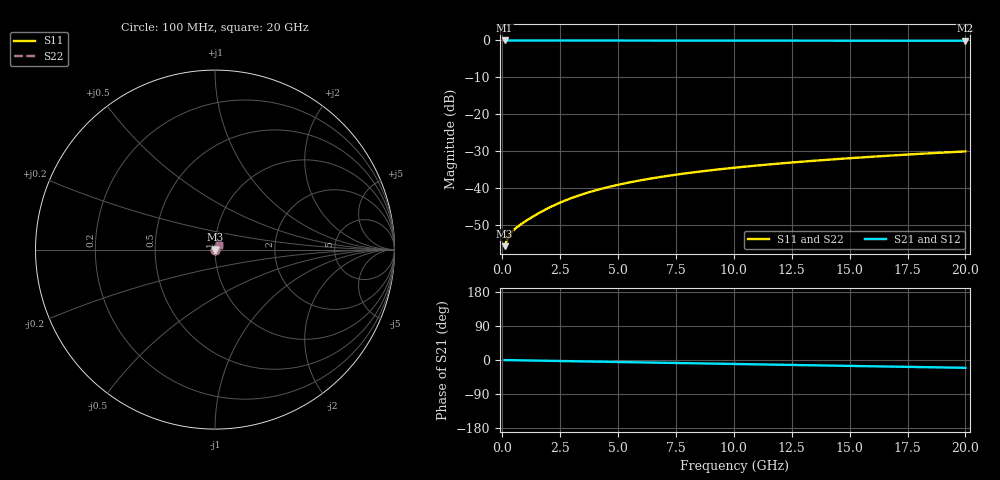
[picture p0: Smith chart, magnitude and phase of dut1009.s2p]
! Touchstone file exported from HFSS 2026.1.0
!  File:  C:/ffzhzh/LocalFiles/Ansys_Project_Files/temp_train_BSMRDL_1009_1783173248_51560.aedt
!  Generated:  09:55:17 PM Jul  4, 2026
!  Design:  BSMRDL
!  Project:  temp_train_BSMRDL_1009_1783173248_51560
! Variables:
!  h_bsmrdl = 3.95um
!  h_ox = 20um
!  h_rdl = 5um
!  h_sub = 80um
!  h_tmrdl = 5um
!  h_tsv = 80um
!  h_via = 3um
!  l_bsmrdl = 357.55um
!  l_sub = 757.55um
!  l_tmrdl = 200um
!  m_sub = 200um
!  pitch = 30.47um
!  r_tsv = 6um
!  s_tmrdl = 10um
!  w_bsmrdl = 24.93um
!  w_sub = 500um
!  w_tmrdl = 12um
!  x_tsv_center1 = 206um
!  x_tsv_center2 = 588.48um
!  x_tsv_center3 = 800.48um
!  x_tsv_center4 = 1182.96um
!  x_tsv_center5 = 1394.96um
!  x_tsv_center6 = 1777.44um
# GHz S MA R 50.000000
! Terminal data exported
! Port[1] = BSM_RDL1_1_T1
! Port[2] = BSM_RDL1_1_T2
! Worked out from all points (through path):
!   200 points, 100 MHz to 20 GHz, reference 50 ohm
!   highest |S21| = -0.01 dB at 100 MHz (marker M1); lowest = -0.1 dB at 20 GHz (marker M2)
!   group delay of S21, straight-line fit = 2.86 ps
!   lowest |S11| = -55.7 dB at 100 MHz (marker M3), VSWR 1.00, Z = 50.2 + j0.0512 ohm
!   |S11| at or under -10 dB: start of sweep to end of sweep
!   |S22| runs from -55.7 to -30.1 dB; largest |S21 - S12| = 3.1e-15
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0.1  0.001632 18.2  0.9985 -0.1  0.9985 -0.1  0.001632 18.2
! Gamma 0 0 0 0
! Port Impedance 50 0 50 0
0.2  0.001967 27.2  0.9983 -0.2  0.9983 -0.2  0.001967 27.2
0.3  0.002272 31.0  0.9981 -0.4  0.9981 -0.4  0.002272 31.0
0.4  0.002515 33.3  0.9979 -0.5  0.9979 -0.5  0.002515 33.3
0.5  0.002715 35.2  0.9978 -0.6  0.9978 -0.6  0.002715 35.2
0.6  0.002891 37.2  0.9977 -0.7  0.9977 -0.7  0.002891 37.2
0.8  0.00322 41.0  0.9976 -0.9  0.9976 -0.9  0.00322 41.0
1  0.003549 44.6  0.9975 -1.1  0.9975 -1.1  0.003549 44.6
1.6  0.004618 52.6  0.9973 -1.7  0.9973 -1.7  0.004618 52.6
2.2  0.00577 57.2  0.9971 -2.4  0.9971 -2.4  0.00577 57.2
2.8  0.006946 59.6  0.9968 -3.0  0.9968 -3.0  0.006947 59.6
3.5  0.008304 61.0  0.9964 -3.7  0.9964 -3.7  0.008304 61.0
4.2  0.009622 61.5  0.996 -4.5  0.996 -4.5  0.009622 61.5
5  0.01107 61.5  0.9956 -5.3  0.9956 -5.3  0.01107 61.5
5.9  0.01261 61.1  0.9951 -6.2  0.9951 -6.2  0.01261 61.1
6.8  0.01408 60.6  0.9946 -7.2  0.9946 -7.2  0.01408 60.6
8.3  0.01639 59.5  0.9938 -8.7  0.9938 -8.7  0.01639 59.5
10.1  0.01897 58.2  0.9929 -10.6  0.9929 -10.6  0.01897 58.2
11.7  0.02114 57.0  0.9923 -12.2  0.9923 -12.2  0.02114 57.0
13.4  0.02336 55.8  0.9916 -13.9  0.9916 -13.9  0.02335 55.8
16.7  0.02746 53.4  0.9904 -17.3  0.9904 -17.3  0.02746 53.4
20  0.03136 50.8  0.9894 -20.7  0.9894 -20.7  0.03135 50.9
